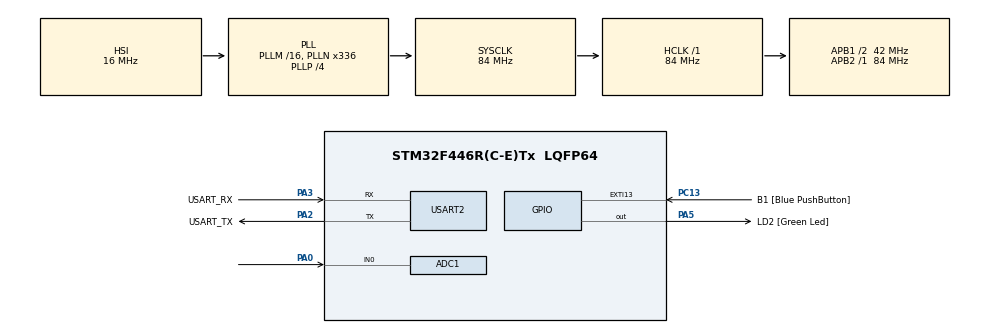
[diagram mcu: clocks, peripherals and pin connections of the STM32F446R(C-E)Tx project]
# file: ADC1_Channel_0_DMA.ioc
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ADC1.Channel-0\#ChannelRegularConversion=ADC_CHANNEL_0
ADC1.NbrOfConversion=1
ADC1.NbrOfConversionFlag=1
ADC1.Rank-0\#ChannelRegularConversion=1
ADC1.SamplingTime-0\#ChannelRegularConversion=ADC_SAMPLETIME_480CYCLES
ADC1.ScanConvMode=ENABLE
ADC1.master=1
Dma.ADC1.0.Direction=DMA_PERIPH_TO_MEMORY
Dma.ADC1.0.FIFOMode=DMA_FIFOMODE_DISABLE
Dma.ADC1.0.Instance=DMA2_Stream0
Dma.ADC1.0.MemDataAlignment=DMA_MDATAALIGN_HALFWORD
Dma.ADC1.0.MemInc=DMA_MINC_ENABLE
Dma.ADC1.0.Mode=DMA_CIRCULAR
Dma.ADC1.0.PeriphDataAlignment=DMA_PDATAALIGN_HALFWORD
Dma.ADC1.0.PeriphInc=DMA_PINC_DISABLE
Dma.ADC1.0.Priority=DMA_PRIORITY_LOW
Dma.Request0=ADC1
Mcu.Family=STM32F4
Mcu.Name=STM32F446R(C-E)Tx
Mcu.Package=LQFP64
NVIC.DMA2_Stream0_IRQn=true\:0\:0\:false\:false\:true\:false\:true\:true
NVIC.PriorityGroup=NVIC_PRIORITYGROUP_0
PA0-WKUP.Signal=ADCx_IN0
PA13.GPIO_Label=TMS
PA13.Mode=Serial_Wire
PA13.Signal=SYS_JTMS-SWDIO
PA14.GPIO_Label=TCK
PA14.Mode=Serial_Wire
PA14.Signal=SYS_JTCK-SWCLK
PA2.GPIO_Label=USART_TX
PA2.Mode=Asynchronous
PA2.Signal=USART2_TX
PA3.GPIO_Label=USART_RX
PA3.Mode=Asynchronous
PA3.Signal=USART2_RX
PA5.GPIO_Label=LD2 [Green Led]
PA5.Signal=GPIO_Output
PB3.GPIO_Label=SWO
PB3.Signal=SYS_JTDO-SWO
PC13.GPIO_Label=B1 [Blue PushButton]
PC13.GPIO_ModeDefaultEXTI=GPIO_MODE_IT_FALLING
PC13.Signal=GPXTI13
PC14-OSC32_IN.Mode=LSE-External-Oscillator
PC14-OSC32_IN.Signal=RCC_OSC32_IN
PC15-OSC32_OUT.Mode=LSE-External-Oscillator
PC15-OSC32_OUT.Signal=RCC_OSC32_OUT
PH0-OSC_IN.Mode=HSE-External-Oscillator
PH0-OSC_IN.Signal=RCC_OSC_IN
PH1-OSC_OUT.Mode=HSE-External-Oscillator
PH1-OSC_OUT.Signal=RCC_OSC_OUT
ProjectManager.HeapSize=0x200
ProjectManager.StackSize=0x400
ProjectManager.TargetToolchain=STM32CubeIDE
RCC.48MHZClocksFreq_Value=84000000
RCC.AHBFreq_Value=84000000
RCC.APB1CLKDivider=RCC_HCLK_DIV2
RCC.APB1Freq_Value=42000000
RCC.APB1TimFreq_Value=84000000
RCC.APB2Freq_Value=84000000
RCC.APB2TimFreq_Value=84000000
RCC.CortexFreq_Value=84000000
RCC.FLatency-AdvancedSettings=FLASH_LATENCY_2
RCC.HCLKFreq_Value=84000000
RCC.HSE_VALUE=8000000
RCC.HSI_VALUE=16000000
RCC.PLLN=336
RCC.PLLP=RCC_PLLP_DIV4
RCC.SYSCLKFreq_VALUE=84000000
RCC.SYSCLKSource=RCC_SYSCLKSOURCE_PLLCLK
RCC.USBFreq_Value=168000000
RCC.VCOOutputFreq_Value=336000000
SH.ADCx_IN0.0=ADC1_IN0,IN0
USART2.VirtualMode=VM_ASYNC
board=NUCLEO-F446RE

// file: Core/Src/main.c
/* USER CODE BEGIN Header */
/**
  ******************************************************************************
  * @file           : main.c
  * @brief          : Main program body
  ******************************************************************************
  * @attention
  *
  * Copyright (c) 2024 STMicroelectronics.
  * All rights reserved.
  *
  * This software is licensed under terms that can be found in the LICENSE file
  * in the root directory of this software component.
  * If no LICENSE file comes with this software, it is provided AS-IS.
  *
  ******************************************************************************
  */
/* USER CODE END Header */
#include "main.h"

/* USER CODE BEGIN Includes */
#include <stdio.h>
#include <string.h>
/* USER CODE END Includes */

/* USER CODE BEGIN PTD */
#define MAX_BUFFER_SIZE  1
/* USER CODE END PTD */

ADC_HandleTypeDef hadc1;
DMA_HandleTypeDef hdma_adc1;

UART_HandleTypeDef huart2;

/* USER CODE BEGIN PV */

uint8_t flag = 0;
uint16_t pot1 = 0;

uint16_t adc_buff[MAX_BUFFER_SIZE];

char msg[50];
/* USER CODE END PV */

void SystemClock_Config(void);
static void MX_GPIO_Init(void);
static void MX_DMA_Init(void);
static void MX_USART2_UART_Init(void);
static void MX_ADC1_Init(void);

/* USER CODE BEGIN 0 */

void HAL_ADC_ConvCpltCallback(ADC_HandleTypeDef* hadc)
{

	flag = 1;
}
/* USER CODE END 0 */

int main(void)
{

  /* MCU Configuration--------------------------------------------------------*/

  /* Reset of all peripherals, Initializes the Flash interface and the Systick. */
  HAL_Init();

  /* Configure the system clock */
  SystemClock_Config();

  /* Initialize all configured peripherals */
  MX_GPIO_Init();
  MX_DMA_Init();
  MX_USART2_UART_Init();
  MX_ADC1_Init();
  /* USER CODE BEGIN 2 */
  HAL_ADC_Start_DMA(&hadc1,(uint32_t *)adc_buff, MAX_BUFFER_SIZE);
  /* USER CODE END 2 */

  /* Infinite loop */
  /* USER CODE BEGIN WHILE */
  while (1)
  {
	  if(flag) {

		  pot1 = adc_buff[0];

		  sprintf(msg,"ADC1 Cahnnel 0 : %04d \r\n",pot1);
		  HAL_UART_Transmit(&huart2,(uint8_t *) msg, 25, 100);
		  HAL_Delay(100);
		  flag = 0;

	  }

	  HAL_ADC_Start_DMA(&hadc1,(uint32_t *)adc_buff, MAX_BUFFER_SIZE);
    /* USER CODE END WHILE */

  }
}

void SystemClock_Config(void)
{
  RCC_OscInitTypeDef RCC_OscInitStruct = {0};
  RCC_ClkInitTypeDef RCC_ClkInitStruct = {0};

  /** Configure the main internal regulator output voltage
  */
  __HAL_RCC_PWR_CLK_ENABLE();
  __HAL_PWR_VOLTAGESCALING_CONFIG(PWR_REGULATOR_VOLTAGE_SCALE3);

  /** Initializes the RCC Oscillators according to the specified parameters
  * in the RCC_OscInitTypeDef structure.
  */
  RCC_OscInitStruct.OscillatorType = RCC_OSCILLATORTYPE_HSI;
  RCC_OscInitStruct.HSIState = RCC_HSI_ON;
  RCC_OscInitStruct.HSICalibrationValue = RCC_HSICALIBRATION_DEFAULT;
  RCC_OscInitStruct.PLL.PLLState = RCC_PLL_ON;
  RCC_OscInitStruct.PLL.PLLSource = RCC_PLLSOURCE_HSI;
  RCC_OscInitStruct.PLL.PLLM = 16;
  RCC_OscInitStruct.PLL.PLLN = 336;
  RCC_OscInitStruct.PLL.PLLP = RCC_PLLP_DIV4;
  RCC_OscInitStruct.PLL.PLLQ = 2;
  RCC_OscInitStruct.PLL.PLLR = 2;
  if (HAL_RCC_OscConfig(&RCC_OscInitStruct) != HAL_OK)
  {
    Error_Handler();
  }

  /** Initializes the CPU, AHB and APB buses clocks
  */
  RCC_ClkInitStruct.ClockType = RCC_CLOCKTYPE_HCLK|RCC_CLOCKTYPE_SYSCLK
                              |RCC_CLOCKTYPE_PCLK1|RCC_CLOCKTYPE_PCLK2;
  RCC_ClkInitStruct.SYSCLKSource = RCC_SYSCLKSOURCE_PLLCLK;
  RCC_ClkInitStruct.AHBCLKDivider = RCC_SYSCLK_DIV1;
  RCC_ClkInitStruct.APB1CLKDivider = RCC_HCLK_DIV2;
  RCC_ClkInitStruct.APB2CLKDivider = RCC_HCLK_DIV1;

  if (HAL_RCC_ClockConfig(&RCC_ClkInitStruct, FLASH_LATENCY_2) != HAL_OK)
  {
    Error_Handler();
  }
}

static void MX_ADC1_Init(void)
{

  ADC_ChannelConfTypeDef sConfig = {0};

  /** Configure the global features of the ADC (Clock, Resolution, Data Alignment and number of conversion)
  */
  hadc1.Instance = ADC1;
  hadc1.Init.ClockPrescaler = ADC_CLOCK_SYNC_PCLK_DIV4;
  hadc1.Init.Resolution = ADC_RESOLUTION_12B;
  hadc1.Init.ScanConvMode = ENABLE;
  hadc1.Init.ContinuousConvMode = DISABLE;
  hadc1.Init.DiscontinuousConvMode = DISABLE;
  hadc1.Init.ExternalTrigConvEdge = ADC_EXTERNALTRIGCONVEDGE_NONE;
  hadc1.Init.ExternalTrigConv = ADC_SOFTWARE_START;
  hadc1.Init.DataAlign = ADC_DATAALIGN_RIGHT;
  hadc1.Init.NbrOfConversion = 1;
  hadc1.Init.DMAContinuousRequests = DISABLE;
  hadc1.Init.EOCSelection = ADC_EOC_SINGLE_CONV;
  if (HAL_ADC_Init(&hadc1) != HAL_OK)
  {
    Error_Handler();
  }

  /** Configure for the selected ADC regular channel its corresponding rank in the sequencer and its sample time.
  */
  sConfig.Channel = ADC_CHANNEL_0;
  sConfig.Rank = 1;
  sConfig.SamplingTime = ADC_SAMPLETIME_480CYCLES;
  if (HAL_ADC_ConfigChannel(&hadc1, &sConfig) != HAL_OK)
  {
    Error_Handler();
  }

}

static void MX_USART2_UART_Init(void)
{

  huart2.Instance = USART2;
  huart2.Init.BaudRate = 115200;
  huart2.Init.WordLength = UART_WORDLENGTH_8B;
  huart2.Init.StopBits = UART_STOPBITS_1;
  huart2.Init.Parity = UART_PARITY_NONE;
  huart2.Init.Mode = UART_MODE_TX_RX;
  huart2.Init.HwFlowCtl = UART_HWCONTROL_NONE;
  huart2.Init.OverSampling = UART_OVERSAMPLING_16;
  if (HAL_UART_Init(&huart2) != HAL_OK)
  {
    Error_Handler();
  }

}

static void MX_DMA_Init(void)
{

  /* DMA controller clock enable */
  __HAL_RCC_DMA2_CLK_ENABLE();

  /* DMA interrupt init */
  /* DMA2_Stream0_IRQn interrupt configuration */
  HAL_NVIC_SetPriority(DMA2_Stream0_IRQn, 0, 0);
  HAL_NVIC_EnableIRQ(DMA2_Stream0_IRQn);

}

static void MX_GPIO_Init(void)
{
  GPIO_InitTypeDef GPIO_InitStruct = {0};

  /* GPIO Ports Clock Enable */
  __HAL_RCC_GPIOC_CLK_ENABLE();
  __HAL_RCC_GPIOH_CLK_ENABLE();
  __HAL_RCC_GPIOA_CLK_ENABLE();
  __HAL_RCC_GPIOB_CLK_ENABLE();

  /*Configure GPIO pin Output Level */
  HAL_GPIO_WritePin(LD2_GPIO_Port, LD2_Pin, GPIO_PIN_RESET);

  /*Configure GPIO pin : B1_Pin */
  GPIO_InitStruct.Pin = B1_Pin;
  GPIO_InitStruct.Mode = GPIO_MODE_IT_FALLING;
  GPIO_InitStruct.Pull = GPIO_NOPULL;
  HAL_GPIO_Init(B1_GPIO_Port, &GPIO_InitStruct);

  /*Configure GPIO pin : LD2_Pin */
  GPIO_InitStruct.Pin = LD2_Pin;
  GPIO_InitStruct.Mode = GPIO_MODE_OUTPUT_PP;
  GPIO_InitStruct.Pull = GPIO_NOPULL;
  GPIO_InitStruct.Speed = GPIO_SPEED_FREQ_LOW;
  HAL_GPIO_Init(LD2_GPIO_Port, &GPIO_InitStruct);

}

void Error_Handler(void)
{
  __disable_irq();
  while (1)
  {
  }
}
